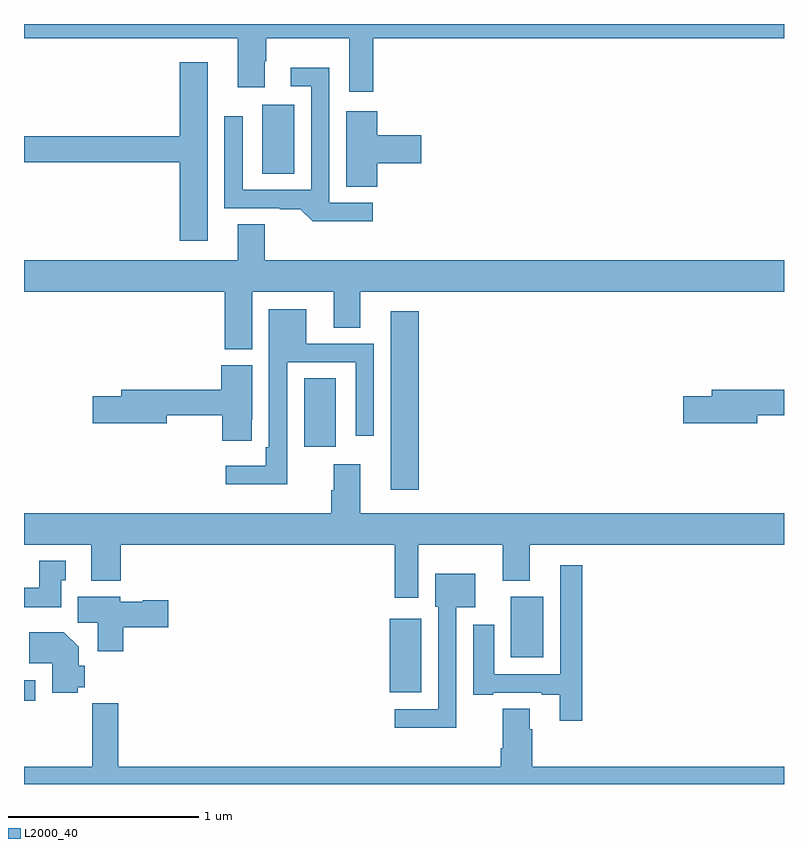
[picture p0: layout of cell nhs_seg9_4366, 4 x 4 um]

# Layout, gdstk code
import gdstk
lib = gdstk.Library(unit=1e-6, precision=1e-09)
def R(c, l, rs):  # rectangles x0, y0, x1, y1
    for r in rs: c.add(gdstk.rectangle(r[:2], r[2:], *l))
def P(c, l, *ps):  # polygons
    for p in ps: c.add(gdstk.Polygon(p, *l))
L2000_40 = (2000, 40)

nhs_seg9_4366 = lib.new_cell('nhs_seg9_4366')
R(nhs_seg9_4366, L2000_40, [(361,1188.939,361.06,1189.047), (362.924,1188.983,363.091,1189.369), (363.563,1189.166,363.733,1189.486), (362.93,1190.049,363.077,1190.989), (362.474,1190.274,362.641,1190.636), (362.255,1191.712,362.422,1192.075)])
P(nhs_seg9_4366, L2000_40, [(362.837,1192.424),(365,1192.424),(365,1192.5),(361,1192.5),(361,1192.424),(362.126,1192.424),(362.126,1192.167),(362.266,1192.167),(362.266,1192.304),(362.274,1192.304),(362.274,1192.424),(362.711,1192.424),(362.711,1192.143),(362.837,1192.143)],
  [(361.966,1192.3),(361.82,1192.3),(361.82,1191.908),(361,1191.908),(361,1191.772),(361.82,1191.772),(361.82,1191.36),(361.966,1191.36)],
  [(362.836,1191.558),(362.607,1191.558),(362.607,1192.27),(362.403,1192.27),(362.403,1192.173),(362.511,1192.173),(362.511,1191.627),(362.151,1191.627),(362.151,1192.015),(362.055,1192.015),(362.055,1191.531),(362.345,1191.531),(362.345,1191.526),(362.453,1191.526),(362.519,1191.461),(362.836,1191.461)],
  [(362.858,1191.767),(363.091,1191.767),(363.091,1191.914),(362.858,1191.914),(362.858,1192.042),(362.696,1192.042),(362.696,1191.643),(362.858,1191.643)],
  [(362.2,1191.092),(362.63,1191.092),(362.63,1190.902),(362.77,1190.902),(362.77,1191.092),(365,1191.092),(365,1191.256),(362.266,1191.256),(362.266,1191.446),(362.126,1191.446),(362.126,1191.256),(361,1191.256),(361,1191.092),(362.057,1191.092),(362.057,1190.788),(362.2,1190.788)],
  [(362.385,1190.721),(362.745,1190.721),(362.745,1190.334),(362.841,1190.334),(362.841,1190.817),(362.485,1190.817),(362.485,1190.998),(362.289,1190.998),(362.289,1190.272),(362.273,1190.272),(362.273,1190.176),(362.061,1190.176),(362.061,1190.078),(362.385,1190.078)],
  [(362.199,1190.419),(362.2,1190.419),(362.2,1190.703),(362.039,1190.703),(362.039,1190.576),(361.511,1190.576),(361.511,1190.54),(361.362,1190.54),(361.362,1190.398),(361.75,1190.398),(361.75,1190.44),(362.044,1190.44),(362.044,1190.307),(362.199,1190.307)],
  [(364.858,1190.44),(365,1190.44),(365,1190.576),(364.619,1190.576),(364.619,1190.54),(364.47,1190.54),(364.47,1190.398),(364.858,1190.398)],
  [(363.076,1189.76),(363.521,1189.76),(363.521,1189.571),(363.661,1189.571),(363.661,1189.76),(365,1189.76),(365,1189.924),(362.77,1189.924),(362.77,1190.182),(362.63,1190.182),(362.63,1190.045),(362.618,1190.045),(362.618,1189.924),(361,1189.924),(361,1189.76),(361.355,1189.76),(361.355,1189.571),(361.508,1189.571),(361.508,1189.76),(362.951,1189.76),(362.951,1189.479),(363.076,1189.479)],
  [(361.195,1189.572),(361.219,1189.572),(361.219,1189.675),(361.079,1189.675),(361.079,1189.534),(361,1189.534),(361,1189.43),(361.195,1189.43)],
  [(363.938,1189.651),(363.822,1189.651),(363.822,1189.077),(363.475,1189.077),(363.475,1189.339),(363.365,1189.339),(363.365,1188.969),(363.469,1188.969),(363.469,1188.981),(363.725,1188.981),(363.725,1188.969),(363.821,1188.969),(363.821,1188.834),(363.938,1188.834)],
  [(363.276,1189.43),(363.376,1189.43),(363.376,1189.606),(363.164,1189.606),(363.164,1189.434),(363.18,1189.434),(363.18,1188.894),(362.952,1188.894),(362.952,1188.797),(363.276,1188.797)],
  [(361.523,1189.325),(361.759,1189.325),(361.759,1189.467),(361.626,1189.467),(361.626,1189.459),(361.506,1189.459),(361.506,1189.486),(361.283,1189.486),(361.283,1189.348),(361.388,1189.348),(361.388,1189.2),(361.523,1189.2)],
  [(361.284,1189.008),(361.319,1189.008),(361.319,1189.122),(361.288,1189.122),(361.288,1189.222),(361.21,1189.3),(361.027,1189.3),(361.027,1189.136),(361.148,1189.136),(361.148,1188.979),(361.284,1188.979)],
  [(365,1188.592),(363.674,1188.592),(363.674,1188.788),(363.661,1188.788),(363.661,1188.896),(363.521,1188.896),(363.521,1188.688),(363.509,1188.688),(363.509,1188.592),(361.496,1188.592),(361.496,1188.925),(361.36,1188.925),(361.36,1188.592),(361,1188.592),(361,1188.5),(365,1188.5)])

lib.write_gds('nhs_seg9_4366.gds')
